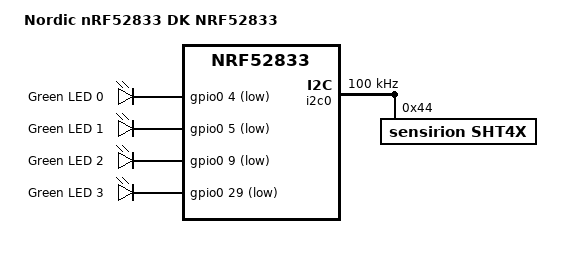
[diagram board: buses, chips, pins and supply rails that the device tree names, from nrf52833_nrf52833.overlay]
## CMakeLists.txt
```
# SPDX-License-Identifier: Apache-2.0

cmake_minimum_required(VERSION 3.20.0)

find_package(Zephyr REQUIRED HINTS $ENV{ZEPHYR_BASE})
project(sgp40_sht4x)

FILE(GLOB app_sources src/*.c)
target_sources(app PRIVATE ${app_sources})
```

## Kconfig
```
#
# Copyright (c) 2021 Leonard Pollak
#
# SPDX-License-Identifier: Apache-2.0
#

mainmenu "SGP40/SHT4X sample application"

config APP_USE_COMPENSATION
	bool "Use the T/RH compensation feature of the SGP40"
	default y

config APP_USE_HEATER
	bool "Use the Heater on the SHT4X"
	default n
	help
		Maximum duty cycle for using the heater is 5%

config APP_HEATER_HUMIDITY_THRESH
	int "RH [%] threshold above which the heater will be activated"
	range 0 99
	default 65
	depends on APP_USE_HEATER

config APP_HEATER_PULSE_POWER
	int "Heater Power Setting"
	range 0 2
	default 2
	depends on APP_USE_HEATER
	help
		0 -> High power heater pulse -> ~200 mW  @3.3V
		1 -> Medium power heater pulse -> ~110 mW  @3.3V
		2 -> Low power heater pulse -> ~20 mW  @3.3V

config APP_HEATER_PULSE_DURATION
	int "Heater Pulse Length Setting"
	range 0 1
	default 1
	depends on APP_USE_HEATER
	help
		0 -> Long heater pulse -> 1.1s
		1 -> Short heater pulse -> 0.11s

source "Kconfig.zephyr"
```

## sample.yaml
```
#
# Copyright (c) 2021 Leonard Pollak
#
# SPDX-License-Identifier: Apache-2.0
#

sample:
  name: SGP40 and SHT4X Sensor Sample
tests:
  sample.sensor.sgp40_sht4x:
    build_only: true
    platform_allow: blackpill_f411ce
    tags: sensors
```

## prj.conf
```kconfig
# Bluetooth Configuration
CONFIG_BT=y  # Enable Bluetooth support
CONFIG_BT_EXT_ADV=y  # Enable extended advertising for Bluetooth

# Power Management
CONFIG_PM=y  # Enable power management support
CONFIG_PM_DEVICE=y  # Enable device-level power management

# I2C and Sensor Support
CONFIG_I2C=y  # Enable I2C driver
CONFIG_SENSOR=y  # Enable sensor drivers
CONFIG_SHT4X=y  # Enable SHT4X sensor driver


# Floating-point Support
CONFIG_CBPRINTF_FP_SUPPORT=y  # Enable floating-point support for formatted printing

# Stack Sizes
# Main stack size
CONFIG_MAIN_STACK_SIZE=16365   

# Idle thread stack size
CONFIG_IDLE_STACK_SIZE=1024  

# ISR stack size
CONFIG_ISR_STACK_SIZE=4096

# Maximum length of advertising data
CONFIG_BT_CTLR_ADV_DATA_LEN_MAX=128  

# Debug and Compiler Settings
CONFIG_DEBUG_OPTIMIZATIONS=y  # Enable debug optimizations for debugging purposes
CONFIG_COMPILER_OPT=""  # Keep compiler optimization to default
```

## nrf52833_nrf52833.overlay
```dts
&i2c0 {
    compatible = "nordic,nrf-twim"; // Ensure this matches the I2C peripheral on your Nordic SoC
    status = "okay";
    clock-frequency = <I2C_BITRATE_STANDARD>; // Set the I2C bus speed to standard rate (100 kHz)

    sht4x@44 {  // Node for the SHT4x sensor with I2C address 0x44
        compatible = "sensirion,sht4x"; // SHT4x sensor compatible string
        reg = <0x44>;                   // I2C address of the SHT4x sensor
        label = "SHT4X";                // Optional label for the sensor
        status = "okay";                // Enable the sensor
        repeatability = <2>;            // Sensor repeatability setting (if applicable)
    };
};

/* for node */

/ {
    model = "Nordic nRF52833 DK NRF52833";
    compatible = "nordic,nrf52833-dk-nrf52833";



	chosen {
		zephyr,console = &uart0;
		zephyr,shell-uart = &uart0;
		zephyr,uart-mcumgr = &uart0;
		zephyr,bt-mon-uart = &uart0;
		zephyr,bt-c2h-uart = &uart0;
		zephyr,sram = &sram0;
		zephyr,flash = &flash0;
		zephyr,code-partition = &slot0_partition;
	};

	leds {
		compatible = "gpio-leds";
		led0: led_0 {
			gpios = <&gpio0 4 GPIO_ACTIVE_LOW>;
			label = "Green LED 0";
		};
		led1: led_1 {
			gpios = <&gpio0 5 GPIO_ACTIVE_LOW>;
			label = "Green LED 1";
		};
		led2: led_2 {
			gpios = <&gpio0 9 GPIO_ACTIVE_LOW>;
			label = "Green LED 2";
		};
		led3: led_3 {
			gpios = <&gpio0 29 GPIO_ACTIVE_LOW>;
			label = "Green LED 3";
		};
	};
};
&pinctrl {
	uart0_default: uart0_default {
		group1 {
			psels = <NRF_PSEL(UART_TX, 0, 29)>, //6   for nrf52dk5832 / 5840
				<NRF_PSEL(UART_RX, 0, 28)>;   //8	  for nrf52dk5832
				
		};
	};

	uart0_sleep: uart0_sleep {
		group1 {
			psels = <NRF_PSEL(UART_TX, 0, 29)>,    //6
				<NRF_PSEL(UART_RX, 0, 28)>;        //8
				
			low-power-enable;
		};
	};
	i2c0_default: i2c0_default {
		group1 {
			psels = <NRF_PSEL(TWIM_SDA, 0, 2)>,  
				<NRF_PSEL(TWIM_SCL, 0, 3)>;      
		};
	};

	i2c0_sleep: i2c0_sleep {
		group1 {
			psels = <NRF_PSEL(TWIM_SDA, 0, 2)>,   
				<NRF_PSEL(TWIM_SCL, 0, 3)>;        
			low-power-enable;
		};
	};
};
```

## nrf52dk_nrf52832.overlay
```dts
&i2c0 {
	status = "okay";
	clock-frequency = <I2C_BITRATE_FAST>;
	sht4x@44 {
		status = "okay";
		compatible = "sensirion,sht4x";
		reg = <0x44>;
		repeatability = <2>;
	};
	
};

/* Enable for Node only */

//&uart0 {
//	current-speed = < 115200 >;
//	status = "okay";
//};

//&pinctrl {
//	uart0_default: uart0_default {
//		group1 {
//			psels = <NRF_PSEL(UART_TX, 0, 24)>, 
//				<NRF_PSEL(UART_RX, 0, 23)>,   
//				<NRF_PSEL(UART_RTS, 0, 5)>,
//				<NRF_PSEL(UART_CTS, 0, 7)>;
//		};
//	};
//
//	uart0_sleep: uart0_sleep {
//		group1 {
//			psels = <NRF_PSEL(UART_TX, 0, 24)>,    
//				<NRF_PSEL(UART_RX, 0, 23)>,       
//				<NRF_PSEL(UART_RTS, 0, 5)>,
//				<NRF_PSEL(UART_CTS, 0, 7)>;
//			low-power-enable;
//		};
//	};
//
//	i2c0_default: i2c0_default {
//		group1 {
//			psels = <NRF_PSEL(TWIM_SDA, 0, 26)>,  
//				<NRF_PSEL(TWIM_SCL, 0, 25)>;      
//		};
//	};
//
//	i2c0_sleep: i2c0_sleep {
//		group1 {
//			psels = <NRF_PSEL(TWIM_SDA, 0, 26)>,   
//				<NRF_PSEL(TWIM_SCL, 0, 25)>;        
//			low-power-enable;
//		};
//	};
//};
```

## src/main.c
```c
#include <zephyr/kernel.h>              // Zephyr kernel API
#include <zephyr/bluetooth/bluetooth.h> // Bluetooth API
#include <zephyr/drivers/gpio.h>        // GPIO API
#include <zephyr/device.h>              // Device API
#include <zephyr/pm/pm.h>               // Power management API
#include <hal/nrf_gpio.h>               // nRF GPIO API
#include <zephyr/drivers/sensor.h>      // Sensor API

// Global definitions for flexibility
#define TEMP_FETCH_INTERVAL_MS 3000     // Sensor fetch interval in ms
#define ADVERTISING_STOP_DELAY_MS 500  // Delay to stop advertising in ms
#define NUM_SENSOR_READINGS 10         // Number of sensor readings
#define MFG_DATA_SIZE 64               // Size of manufacturer data buffer
#define BT_ADDRESS "DE:AD:BB:AA:BB:11" // Random static BT address

struct bt_le_ext_adv *adv;                                           // BLE extended advertisement structure
const struct device *const sht = DEVICE_DT_GET_ANY(sensirion_sht4x); // Get SHT sensor

int8_t temp_value1, temp_value2; // Temp values
int8_t hum_value1, hum_value2;   // Humidity values
int err, counter = 0;            // Error code and counter

// Advertising parameters
#define ADV_MIN_INTERVAL 0x30 // Min interval (3s)
#define ADV_MAX_INTERVAL 0x30 // Max interval (3s)
struct bt_le_adv_param adv_param = BT_LE_ADV_PARAM_INIT(
    BT_LE_ADV_OPT_NONE | BT_LE_ADV_OPT_EXT_ADV | BT_LE_ADV_OPT_USE_IDENTITY | BT_LE_ADV_OPT_NO_2M,
    ADV_MIN_INTERVAL, ADV_MAX_INTERVAL, NULL);

// Start parameters
#define ADV_DURATION 2 // Advertising duration (2 events)
struct bt_le_ext_adv_start_param ext_adv_param = BT_LE_EXT_ADV_START_PARAM_INIT(0, ADV_DURATION);

static uint8_t mfg_data[MFG_DATA_SIZE] = {0}; // Manufacturer data buffer
static const struct bt_data ad[] = {
    BT_DATA(BT_DATA_MANUFACTURER_DATA, mfg_data, MFG_DATA_SIZE), // Advertisement data
};

// Set random static Bluetooth address
static void set_random_static_address(void)
{
    printk("Starting iBeacon Demo\n");
    bt_addr_le_t addr;
    err = bt_addr_le_from_str(BT_ADDRESS, "random", &addr); // Set random address
    if (err)
    {
        printk("Invalid BT address (err %d)\n", err);
        return;
    }
    err = bt_id_create(&addr, NULL); // Create identity with address
    if (err)
    {
        printk("Creating new ID failed (err %d)\n", err);
        return;
    }
    printk("Created new address\n");
}

// Initialize Bluetooth advertisement
void adv_param_init(void)
{
    err = bt_le_ext_adv_create(&adv_param, NULL, &adv); // Create advertisement
    if (err)
    {
        printk("Failed to create advertising set (err %d)\n", err);
        return;
    }
    printk("Created extended advertising set\n");
}

// Fetch temperature and humidity data
void fetch_temp_data(void)
{
    mfg_data[0] = 0x03; // Set manufacturer data
    mfg_data[1] = 0x00;
    mfg_data[2] = 0x101;

    for (int i = 0; i < NUM_SENSOR_READINGS; i++)
    { // Fetch sensor data loop
        struct sensor_value temp, hum;

        err = sensor_sample_fetch(sht); // Fetch sensor samples
        if (!err)
        { // Get temperature and humidity if successful
            sensor_channel_get(sht, SENSOR_CHAN_AMBIENT_TEMP, &temp);
            sensor_channel_get(sht, SENSOR_CHAN_HUMIDITY, &hum);
            printf("Temperature= %f; Humidity= %f\n", sensor_value_to_double(&temp), sensor_value_to_double(&hum));

            temp_value1 = temp.val1;         // Temp integer part
            temp_value2 = temp.val2 / 10000; // Temp fraction part
            hum_value1 = hum.val1;           // Humidity integer part
            hum_value2 = hum.val2 / 10000;   // Humidity fraction part

            // Store temp and humidity data into buffer
            mfg_data[i * 4 + 3] = temp_value1;
            mfg_data[i * 4 + 4] = temp_value2;
            mfg_data[i * 4 + 5] = hum_value1;
            mfg_data[i * 4 + 6] = hum_value2;
        }
        else
        {
            printf("ERROR: Temperature data update failed: %d\n", err);
        }

        k_msleep(TEMP_FETCH_INTERVAL_MS); // Sleep for defined interval
    }

    // Print buffer and increment counter
    for (int mfgIdx = 0; mfgIdx < MFG_DATA_SIZE; mfgIdx++)
    {
        printf("%d ", mfg_data[mfgIdx]);
    }

    counter++;   // Increment counter
    start_adv(); // Start BLE advertisement
}

// Start Bluetooth advertisement
void start_adv(void)
{
    err = bt_le_ext_adv_set_data(adv, ad, ARRAY_SIZE(ad), NULL, 0); // Set advertisement data
    if (err)
    {
        printk("Failed (err %d)\n", err);
        return;
    }

    printk("\nStart Extended Advertising...");
    err = bt_le_ext_adv_start(adv, &ext_adv_param); // Start extended advertisement
    if (err)
    {
        printk("Failed to start extended advertising (err %d)\n", err);
        return;
    }
    printk("done.\n");
    k_msleep(ADVERTISING_STOP_DELAY_MS); // Sleep for defined delay
    bt_le_ext_adv_stop(adv);             // Stop advertisement
    printk("Stopped advertising..!!\n");
    printf("No of times data published: %d\n", counter); // Log counter
    fetch_temp_data(); // Fetch sensor data after advertising
}

void main(void)
{
    printk("Starting Temperature and Humidity Node\n");

    set_random_static_address(); // Set random BLE address

    err = bt_enable(NULL); // Enable Bluetooth stack
    if (err)
    {
        printk("Bluetooth init failed (err %d)\n", err);
        return;
    }

    adv_param_init();  // Initialize advertising parameters
    fetch_temp_data(); // Fetch sensor data
}
```
